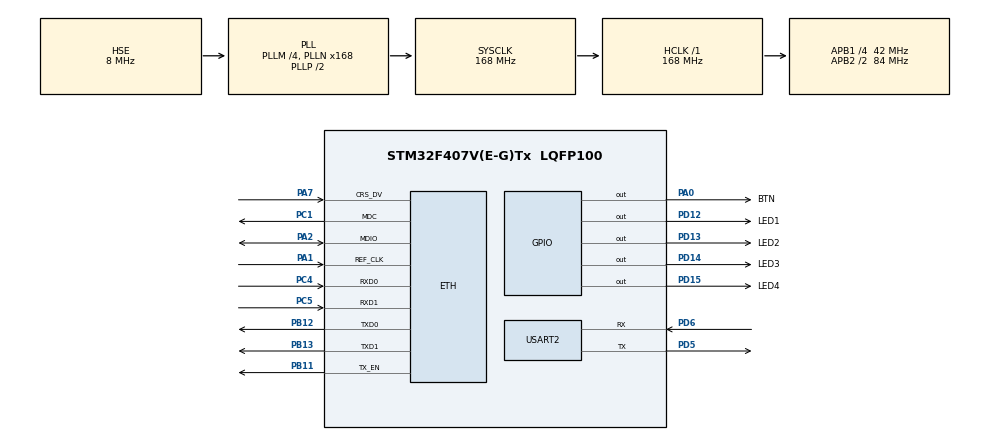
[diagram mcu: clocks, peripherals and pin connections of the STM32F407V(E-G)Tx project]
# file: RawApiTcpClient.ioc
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ETH.MediaInterface=HAL_ETH_RMII_MODE
LWIP.BSP.number=1
LWIP.GATEWAY_ADDRESS=010.073.132.254
LWIP.IP_ADDRESS=010.073.132.155
LWIP.LWIP_DHCP=0
LWIP.MEM_SIZE=10*1024
LWIP.NETMASK_ADDRESS=255.255.255.000
LWIP.Version=v2.1.2_Cube
LWIP0.BSP.STBoard=false
LWIP0.BSP.api=BSP_COMPONENT_DRIVER
LWIP0.BSP.component=DP83848
LWIP0.BSP.instance=DP83848
LWIP0.BSP.name=Driver_PHY
LWIP0.BSP.semaphore=S_DP83848
LWIP0.BSP.solution=DP83848
Mcu.Family=STM32F4
Mcu.Name=STM32F407V(E-G)Tx
Mcu.Package=LQFP100
NVIC.ETH_IRQn=true\:0\:0\:false\:false\:true\:true\:true\:true
NVIC.PriorityGroup=NVIC_PRIORITYGROUP_0
NVIC.TIM2_IRQn=true\:0\:0\:false\:false\:true\:true\:true\:true
PA0-WKUP.GPIO_Label=BTN
PA0-WKUP.Signal=GPIO_Output
PA1.Mode=RMII
PA1.Signal=ETH_REF_CLK
PA2.Mode=RMII
PA2.Signal=ETH_MDIO
PA7.Mode=RMII
PA7.Signal=ETH_CRS_DV
PB11.Mode=RMII
PB11.Signal=ETH_TX_EN
PB12.Mode=RMII
PB12.Signal=ETH_TXD0
PB13.Mode=RMII
PB13.Signal=ETH_TXD1
PC1.Mode=RMII
PC1.Signal=ETH_MDC
PC4.Mode=RMII
PC4.Signal=ETH_RXD0
PC5.Mode=RMII
PC5.Signal=ETH_RXD1
PD12.GPIO_Label=LED1
PD12.Signal=GPIO_Output
PD13.GPIO_Label=LED2
PD13.Signal=GPIO_Output
PD14.GPIO_Label=LED3
PD14.Signal=GPIO_Output
PD15.GPIO_Label=LED4
PD15.Signal=GPIO_Output
PD5.Mode=Asynchronous
PD5.Signal=USART2_TX
PD6.Mode=Asynchronous
PD6.Signal=USART2_RX
PH0-OSC_IN.Mode=HSE-External-Oscillator
PH0-OSC_IN.Signal=RCC_OSC_IN
PH1-OSC_OUT.Mode=HSE-External-Oscillator
PH1-OSC_OUT.Signal=RCC_OSC_OUT
ProjectManager.HeapSize=0x200
ProjectManager.StackSize=0x400
ProjectManager.TargetToolchain=STM32CubeIDE
RCC.48MHZClocksFreq_Value=48000000
RCC.AHBFreq_Value=168000000
RCC.APB1CLKDivider=RCC_HCLK_DIV4
RCC.APB1Freq_Value=42000000
RCC.APB1TimFreq_Value=84000000
RCC.APB2CLKDivider=RCC_HCLK_DIV2
RCC.APB2Freq_Value=84000000
RCC.APB2TimFreq_Value=168000000
RCC.CortexFreq_Value=168000000
RCC.HCLKFreq_Value=168000000
RCC.HSE_VALUE=8000000
RCC.HSI_VALUE=16000000
RCC.LSE_VALUE=32768
RCC.PLLM=4
RCC.PLLN=168
RCC.PLLQ=7
RCC.PLLSourceVirtual=RCC_PLLSOURCE_HSE
RCC.SYSCLKFreq_VALUE=168000000
RCC.SYSCLKSource=RCC_SYSCLKSOURCE_PLLCLK
RCC.VCOOutputFreq_Value=336000000
TIM2.Period=10000-1
TIM2.Prescaler=4200-1
USART2.VirtualMode=VM_ASYNC
VP_LWIP_VS_Enabled.Mode=Enabled
VP_TIM2_VS_ClockSourceINT.Mode=Internal
board=STM32F407G-DISC1

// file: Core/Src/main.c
/* USER CODE BEGIN Header */
/**
  ******************************************************************************
  * @file           : main.c
  * @brief          : Main program body
  ******************************************************************************
  * @attention
  *
  * Copyright (c) 2026 STMicroelectronics.
  * All rights reserved.
  *
  * This software is licensed under terms that can be found in the LICENSE file
  * in the root directory of this software component.
  * If no LICENSE file comes with this software, it is provided AS-IS.
  *
  ******************************************************************************
  */
/* USER CODE END Header */
#include "main.h"
#include "lwip.h"
#include "tim.h"
#include "usart.h"
#include "gpio.h"

/* USER CODE BEGIN Includes */
#include "stdio.h"
#include "tcpClientRAW.h"
/* USER CODE END Includes */

/* USER CODE BEGIN PV */
extern struct netif gnetif;
void phy_check(void) {
    uint32_t phy_reg_value = 0;
    uint32_t target_reg = 0x02; // Thanh ghi PHY ID

    for (uint32_t addr = 0; addr < 32; addr++) {
        if (HAL_ETH_ReadPHYRegister(&heth, addr, target_reg, &phy_reg_value) == HAL_OK) {
            // Kiểm tra giá trị đọc được
            if (phy_reg_value != 0xFFFF && phy_reg_value != 0x0000) {
                printf("\r\nPHY found at Address: %ld (RegVal: 0x%lX)\r\n", addr, phy_reg_value);
                // Bật LED thông báo
                HAL_GPIO_WritePin(GPIOD, GPIO_PIN_12 | GPIO_PIN_13 | GPIO_PIN_14 | GPIO_PIN_15, GPIO_PIN_SET);
                // Nếu tìm thấy rồi thì có thể break để tiết kiệm thời gian
                 break;
            }
        }
    }
}
/* USER CODE END PV */

void SystemClock_Config(void);

int main(void)
{

  /* MCU Configuration--------------------------------------------------------*/

  /* Reset of all peripherals, Initializes the Flash interface and the Systick. */
  HAL_Init();

  /* USER CODE BEGIN Init */
  HAL_Delay(1000);
  /* USER CODE END Init */

  /* Configure the system clock */
  SystemClock_Config();

  /* Initialize all configured peripherals */
  MX_GPIO_Init();
  MX_TIM2_Init();
  MX_USART2_UART_Init();
  MX_LWIP_Init();
  /* USER CODE BEGIN 2 */
  uint32_t count = 0;
  HAL_TIM_Base_Start_IT(&htim2);
  phy_check();
  tcp_client_init();
  /* USER CODE END 2 */

  /* Infinite loop */
  while (1)
  {

    /* USER CODE BEGIN 3 */
	  ethernetif_input(&gnetif);
	  sys_check_timeouts();
	  count++;
	  if (count > 10000) {
		  count = 0;
		  HAL_GPIO_TogglePin(LED2_GPIO_Port, LED2_Pin);
	  }
  }
  /* USER CODE END 3 */
}

void SystemClock_Config(void)
{
  RCC_OscInitTypeDef RCC_OscInitStruct = {0};
  RCC_ClkInitTypeDef RCC_ClkInitStruct = {0};

  /** Configure the main internal regulator output voltage
  */
  __HAL_RCC_PWR_CLK_ENABLE();
  __HAL_PWR_VOLTAGESCALING_CONFIG(PWR_REGULATOR_VOLTAGE_SCALE1);

  /** Initializes the RCC Oscillators according to the specified parameters
  * in the RCC_OscInitTypeDef structure.
  */
  RCC_OscInitStruct.OscillatorType = RCC_OSCILLATORTYPE_HSE;
  RCC_OscInitStruct.HSEState = RCC_HSE_ON;
  RCC_OscInitStruct.PLL.PLLState = RCC_PLL_ON;
  RCC_OscInitStruct.PLL.PLLSource = RCC_PLLSOURCE_HSE;
  RCC_OscInitStruct.PLL.PLLM = 4;
  RCC_OscInitStruct.PLL.PLLN = 168;
  RCC_OscInitStruct.PLL.PLLP = RCC_PLLP_DIV2;
  RCC_OscInitStruct.PLL.PLLQ = 7;
  if (HAL_RCC_OscConfig(&RCC_OscInitStruct) != HAL_OK)
  {
    Error_Handler();
  }

  /** Initializes the CPU, AHB and APB buses clocks
  */
  RCC_ClkInitStruct.ClockType = RCC_CLOCKTYPE_HCLK|RCC_CLOCKTYPE_SYSCLK
                              |RCC_CLOCKTYPE_PCLK1|RCC_CLOCKTYPE_PCLK2;
  RCC_ClkInitStruct.SYSCLKSource = RCC_SYSCLKSOURCE_PLLCLK;
  RCC_ClkInitStruct.AHBCLKDivider = RCC_SYSCLK_DIV1;
  RCC_ClkInitStruct.APB1CLKDivider = RCC_HCLK_DIV4;
  RCC_ClkInitStruct.APB2CLKDivider = RCC_HCLK_DIV2;

  if (HAL_RCC_ClockConfig(&RCC_ClkInitStruct, FLASH_LATENCY_5) != HAL_OK)
  {
    Error_Handler();
  }
}

/* USER CODE BEGIN 4 */
//void HAL_TIM_PeriodElapsedCallback(TIM_HandleTypeDef *htim)
//{
//  if (htim->Instance == TIM2) {
//      HAL_GPIO_TogglePin(LED1_GPIO_Port, LED1_Pin);
//    }
//}
/* USER CODE END 4 */

void Error_Handler(void)
{
  __disable_irq();
  while (1)
  {
  }
}
